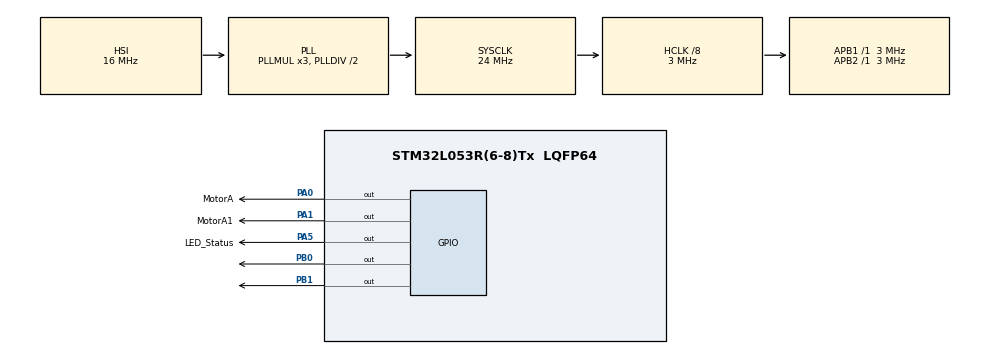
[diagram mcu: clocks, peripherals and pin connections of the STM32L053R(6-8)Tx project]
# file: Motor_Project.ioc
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Mcu.Family=STM32L0
Mcu.Name=STM32L053R(6-8)Tx
Mcu.Package=LQFP64
PA0.GPIO_Label=MotorA
PA0.Signal=GPIO_Output
PA1.GPIO_Label=MotorA1
PA1.Signal=GPIO_Output
PA5.GPIO_Label=LED_Status
PA5.Signal=GPIO_Output
PB0.Signal=GPIO_Output
PB1.Signal=GPIO_Output
ProjectManager.HeapSize=0x200
ProjectManager.StackSize=0x400
ProjectManager.TargetToolchain=MDK-ARM V5
RCC.AHBCLKDivider=RCC_SYSCLK_DIV8
RCC.AHBFreq_Value=3000000
RCC.APB1Freq_Value=3000000
RCC.APB1TimFreq_Value=3000000
RCC.APB2Freq_Value=3000000
RCC.APB2TimFreq_Value=3000000
RCC.HCLKFreq_Value=3000000
RCC.HSE_VALUE=8000000
RCC.HSI16_VALUE=16000000
RCC.HSI48_VALUE=48000000
RCC.HSI_VALUE=16000000
RCC.LSE_VALUE=32768
RCC.MSI_VALUE=2097000
RCC.SYSCLKFreq_VALUE=24000000
RCC.SYSCLKSource=RCC_SYSCLKSOURCE_PLLCLK
RCC.VCOOutputFreq_Value=48000000
board=Motor_Project

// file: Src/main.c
/**
  ******************************************************************************
  * File Name          : main.c
  * Description        : Main program body
  ******************************************************************************
  ** This notice applies to any and all portions of this file
  * that are not between comment pairs USER CODE BEGIN and
  * USER CODE END. Other portions of this file, whether
  * inserted by the user or by software development tools
  * are owned by their respective copyright owners.
  *
  * COPYRIGHT(c) 2017 STMicroelectronics
  *
  * Redistribution and use in source and binary forms, with or without modification,
  * are permitted provided that the following conditions are met:
  *   1. Redistributions of source code must retain the above copyright notice,
  *      this list of conditions and the following disclaimer.
  *   2. Redistributions in binary form must reproduce the above copyright notice,
  *      this list of conditions and the following disclaimer in the documentation
  *      and/or other materials provided with the distribution.
  *   3. Neither the name of STMicroelectronics nor the names of its contributors
  *      may be used to endorse or promote products derived from this software
  *      without specific prior written permission.
  *
  * THIS SOFTWARE IS PROVIDED BY THE COPYRIGHT HOLDERS AND CONTRIBUTORS "AS IS"
  * AND ANY EXPRESS OR IMPLIED WARRANTIES, INCLUDING, BUT NOT LIMITED TO, THE
  * IMPLIED WARRANTIES OF MERCHANTABILITY AND FITNESS FOR A PARTICULAR PURPOSE ARE
  * DISCLAIMED. IN NO EVENT SHALL THE COPYRIGHT HOLDER OR CONTRIBUTORS BE LIABLE
  * FOR ANY DIRECT, INDIRECT, INCIDENTAL, SPECIAL, EXEMPLARY, OR CONSEQUENTIAL
  * DAMAGES (INCLUDING, BUT NOT LIMITED TO, PROCUREMENT OF SUBSTITUTE GOODS OR
  * SERVICES; LOSS OF USE, DATA, OR PROFITS; OR BUSINESS INTERRUPTION) HOWEVER
  * CAUSED AND ON ANY THEORY OF LIABILITY, WHETHER IN CONTRACT, STRICT LIABILITY,
  * OR TORT (INCLUDING NEGLIGENCE OR OTHERWISE) ARISING IN ANY WAY OUT OF THE USE
  * OF THIS SOFTWARE, EVEN IF ADVISED OF THE POSSIBILITY OF SUCH DAMAGE.
  *
  ******************************************************************************
  */
#include "main.h"
#include "stm32l0xx_hal.h"

/* USER CODE BEGIN Includes */
uint8_t D_Flag = 1;
uint32_t D_Count = 0;
/* USER CODE END Includes */

/* USER CODE BEGIN PV */
/* Private variables ---------------------------------------------------------*/
#define Time 5
/* USER CODE END PV */

void SystemClock_Config(void);
static void MX_GPIO_Init(void);

/* USER CODE BEGIN PFP */
/* Private function prototypes -----------------------------------------------*/

/* USER CODE END PFP */

/* USER CODE BEGIN 0 */
/* �������ʱ�� + */
/*   1 2 3 4 5 6 7 8*/
/*A  1 1 0 0 0 0 0 1*/
/*A1 0 0 0 1 1 1 0 0*/
/*B  0 1 1 1 0 0 0 0*/
/*B1 0 0 0 0 0 1 1 1*/
//a[8]={0x01,0x05,0x04,0x06,0x02,0x0A,0x08,0x09};

/* �������ʱ�� - */
/*   1 2 3 4 5 6 7 8*/
/*A  1 1 0 0 0 0 0 1*/
/*A1 0 0 0 1 1 1 0 0*/
/*B  0 0 0 0 0 1 1 1*/
/*B1 0 1 1 1 0 0 0 0*/

void Motor_Z(void);
void Motor_F(void);
/* USER CODE END 0 */

int main(void)
{

    /* MCU Configuration----------------------------------------------------------*/

    /* Reset of all peripherals, Initializes the Flash interface and the Systick. */
    HAL_Init();

    /* Configure the system clock */
    SystemClock_Config();

    /* Initialize all configured peripherals */
    MX_GPIO_Init();

    /* Infinite loop */
    while (1)
    {

        /* USER CODE BEGIN 3 */
			  Motor_F();
#if 0
			D_Count++;
        if (D_Count>300)
         {
					  Motor_F();
					if(D_Count>600)
						D_Count=0;
				 }else
				   Motor_Z();
#endif
		}

    /* USER CODE END 3 */

}

/** System Clock Configuration
*/
void SystemClock_Config(void)
{

    RCC_OscInitTypeDef RCC_OscInitStruct;
    RCC_ClkInitTypeDef RCC_ClkInitStruct;

    /**Configure the main internal regulator output voltage
    */
    __HAL_PWR_VOLTAGESCALING_CONFIG(PWR_REGULATOR_VOLTAGE_SCALE1);

    /**Initializes the CPU, AHB and APB busses clocks
    */
    RCC_OscInitStruct.OscillatorType = RCC_OSCILLATORTYPE_HSI;
    RCC_OscInitStruct.HSIState = RCC_HSI_ON;
    RCC_OscInitStruct.HSICalibrationValue = 16;
    RCC_OscInitStruct.PLL.PLLState = RCC_PLL_ON;
    RCC_OscInitStruct.PLL.PLLSource = RCC_PLLSOURCE_HSI;
    RCC_OscInitStruct.PLL.PLLMUL = RCC_PLLMUL_3;
    RCC_OscInitStruct.PLL.PLLDIV = RCC_PLLDIV_2;
    if (HAL_RCC_OscConfig(&RCC_OscInitStruct) != HAL_OK)
    {
        _Error_Handler(__FILE__, __LINE__);
    }

    /**Initializes the CPU, AHB and APB busses clocks
    */
    RCC_ClkInitStruct.ClockType = RCC_CLOCKTYPE_HCLK | RCC_CLOCKTYPE_SYSCLK
                                  | RCC_CLOCKTYPE_PCLK1 | RCC_CLOCKTYPE_PCLK2;
    RCC_ClkInitStruct.SYSCLKSource = RCC_SYSCLKSOURCE_PLLCLK;
    RCC_ClkInitStruct.AHBCLKDivider = RCC_SYSCLK_DIV8;
    RCC_ClkInitStruct.APB1CLKDivider = RCC_HCLK_DIV1;
    RCC_ClkInitStruct.APB2CLKDivider = RCC_HCLK_DIV1;

    if (HAL_RCC_ClockConfig(&RCC_ClkInitStruct, FLASH_LATENCY_0) != HAL_OK)
    {
        _Error_Handler(__FILE__, __LINE__);
    }

    /**Configure the Systick interrupt time
    */
    HAL_SYSTICK_Config(HAL_RCC_GetHCLKFreq() / 1000);

    /**Configure the Systick
    */
    HAL_SYSTICK_CLKSourceConfig(SYSTICK_CLKSOURCE_HCLK);

    /* SysTick_IRQn interrupt configuration */
    HAL_NVIC_SetPriority(SysTick_IRQn, 0, 0);
}

/** Configure pins as
        * Analog
        * Input
        * Output
        * EVENT_OUT
        * EXTI
*/
static void MX_GPIO_Init(void)
{

    GPIO_InitTypeDef GPIO_InitStruct;

    /* GPIO Ports Clock Enable */
    __HAL_RCC_GPIOA_CLK_ENABLE();
    __HAL_RCC_GPIOB_CLK_ENABLE();

    /*Configure GPIO pin Output Level */
    HAL_GPIO_WritePin(GPIOA, MotorA_Pin | MotorA1_Pin | LED_Status_Pin, GPIO_PIN_RESET);

    /*Configure GPIO pin Output Level */
    HAL_GPIO_WritePin(GPIOB, GPIO_PIN_0 | GPIO_PIN_1, GPIO_PIN_RESET);

    /*Configure GPIO pins : MotorA_Pin MotorA1_Pin LED_Status_Pin */
    GPIO_InitStruct.Pin = MotorA_Pin | MotorA1_Pin | LED_Status_Pin;
    GPIO_InitStruct.Mode = GPIO_MODE_OUTPUT_PP;
    GPIO_InitStruct.Pull = GPIO_NOPULL;
    GPIO_InitStruct.Speed = GPIO_SPEED_FREQ_LOW;
    HAL_GPIO_Init(GPIOA, &GPIO_InitStruct);

    /*Configure GPIO pins : PB0 PB1 */
    GPIO_InitStruct.Pin = GPIO_PIN_0 | GPIO_PIN_1;
    GPIO_InitStruct.Mode = GPIO_MODE_OUTPUT_PP;
    GPIO_InitStruct.Pull = GPIO_NOPULL;
    GPIO_InitStruct.Speed = GPIO_SPEED_FREQ_LOW;
    HAL_GPIO_Init(GPIOB, &GPIO_InitStruct);

}

/* USER CODE BEGIN 4 */

void Motor_Z(void)
{
#if 1
    HAL_GPIO_WritePin(GPIOA, GPIO_PIN_0, GPIO_PIN_SET);
    HAL_GPIO_WritePin(GPIOA, GPIO_PIN_1, GPIO_PIN_RESET);
    HAL_GPIO_WritePin(GPIOB, GPIO_PIN_0, GPIO_PIN_RESET);
    HAL_GPIO_WritePin(GPIOB, GPIO_PIN_1, GPIO_PIN_RESET);
    HAL_Delay(Time);//0001

    HAL_GPIO_WritePin(GPIOA, GPIO_PIN_0, GPIO_PIN_SET);
    HAL_GPIO_WritePin(GPIOA, GPIO_PIN_1, GPIO_PIN_RESET);
    HAL_GPIO_WritePin(GPIOB, GPIO_PIN_0, GPIO_PIN_SET);
    HAL_GPIO_WritePin(GPIOB, GPIO_PIN_1, GPIO_PIN_RESET);
    HAL_Delay(Time); //0101

    HAL_GPIO_WritePin(GPIOA, GPIO_PIN_0, GPIO_PIN_RESET);
    HAL_GPIO_WritePin(GPIOA, GPIO_PIN_1, GPIO_PIN_RESET);
    HAL_GPIO_WritePin(GPIOB, GPIO_PIN_0, GPIO_PIN_SET);
    HAL_GPIO_WritePin(GPIOB, GPIO_PIN_1, GPIO_PIN_RESET);
    HAL_Delay(Time); //0100

    HAL_GPIO_WritePin(GPIOA, GPIO_PIN_0, GPIO_PIN_RESET);
    HAL_GPIO_WritePin(GPIOA, GPIO_PIN_1, GPIO_PIN_SET);
    HAL_GPIO_WritePin(GPIOB, GPIO_PIN_0, GPIO_PIN_SET);
    HAL_GPIO_WritePin(GPIOB, GPIO_PIN_1, GPIO_PIN_RESET);
    HAL_Delay(Time); //0110

    HAL_GPIO_WritePin(GPIOA, GPIO_PIN_0, GPIO_PIN_RESET);
    HAL_GPIO_WritePin(GPIOA, GPIO_PIN_1, GPIO_PIN_SET);
    HAL_GPIO_WritePin(GPIOB, GPIO_PIN_0, GPIO_PIN_RESET);
    HAL_GPIO_WritePin(GPIOB, GPIO_PIN_1, GPIO_PIN_RESET);
    HAL_Delay(Time); //0010

    HAL_GPIO_WritePin(GPIOA, GPIO_PIN_0, GPIO_PIN_RESET);
    HAL_GPIO_WritePin(GPIOA, GPIO_PIN_1, GPIO_PIN_SET);
    HAL_GPIO_WritePin(GPIOB, GPIO_PIN_0, GPIO_PIN_RESET);
    HAL_GPIO_WritePin(GPIOB, GPIO_PIN_1, GPIO_PIN_SET);
    HAL_Delay(Time);  //1010

    HAL_GPIO_WritePin(GPIOA, GPIO_PIN_0, GPIO_PIN_RESET);
    HAL_GPIO_WritePin(GPIOA, GPIO_PIN_1, GPIO_PIN_RESET);
    HAL_GPIO_WritePin(GPIOB, GPIO_PIN_0, GPIO_PIN_RESET);
    HAL_GPIO_WritePin(GPIOB, GPIO_PIN_1, GPIO_PIN_SET);
    HAL_Delay(Time);  //1000

    HAL_GPIO_WritePin(GPIOA, GPIO_PIN_0, GPIO_PIN_SET);
    HAL_GPIO_WritePin(GPIOA, GPIO_PIN_1, GPIO_PIN_RESET);
    HAL_GPIO_WritePin(GPIOB, GPIO_PIN_0, GPIO_PIN_RESET);
    HAL_GPIO_WritePin(GPIOB, GPIO_PIN_1, GPIO_PIN_SET);
    HAL_Delay(Time);  //1001
#else
        GPIOA->BSRR = 0X00000001;
        GPIOB->BSRR = 0X00000000;
        HAL_Delay(Time);   //0001 1

        GPIOA->BSRR = 0X00000001;
        GPIOB->BSRR = 0X00000001;
        HAL_Delay(Time);   //0101 2

        GPIOA->BSRR = 0X00010000;
        GPIOB->BSRR = 0X00000001;
        HAL_Delay(Time);   //0100 3

        GPIOA->BSRR = 0X00000002;
        GPIOB->BSRR = 0X00000001;
        HAL_Delay(Time);   //0110 4

        GPIOA->BSRR = 0X00000002;
        GPIOB->BSRR = 0X00010000;
        HAL_Delay(Time);   //0010 5

        GPIOA->BSRR = 0X00000002;
        GPIOB->BSRR = 0X00000002;
        HAL_Delay(Time);   //1010 6

        GPIOA->BSRR = 0X00020000;
        GPIOB->BSRR = 0X00000002;
        HAL_Delay(Time);   //1000 7

        GPIOA->BSRR = 0X00000001;
        GPIOB->BSRR = 0X00000002;
        HAL_Delay(Time);   //1001 8

#endif
}

void Motor_F(void)
{
    HAL_GPIO_WritePin(GPIOA, GPIO_PIN_0, GPIO_PIN_SET);
    HAL_GPIO_WritePin(GPIOA, GPIO_PIN_1, GPIO_PIN_RESET);
    HAL_GPIO_WritePin(GPIOB, GPIO_PIN_0, GPIO_PIN_RESET);
    HAL_GPIO_WritePin(GPIOB, GPIO_PIN_1, GPIO_PIN_RESET);
    HAL_Delay(Time);//0001

    HAL_GPIO_WritePin(GPIOA, GPIO_PIN_0, GPIO_PIN_SET);
    HAL_GPIO_WritePin(GPIOA, GPIO_PIN_1, GPIO_PIN_RESET);
    HAL_GPIO_WritePin(GPIOB, GPIO_PIN_0, GPIO_PIN_RESET);
    HAL_GPIO_WritePin(GPIOB, GPIO_PIN_1, GPIO_PIN_SET);
    HAL_Delay(Time); //1001

    HAL_GPIO_WritePin(GPIOA, GPIO_PIN_0, GPIO_PIN_RESET);
    HAL_GPIO_WritePin(GPIOA, GPIO_PIN_1, GPIO_PIN_RESET);
    HAL_GPIO_WritePin(GPIOB, GPIO_PIN_0, GPIO_PIN_RESET);
    HAL_GPIO_WritePin(GPIOB, GPIO_PIN_1, GPIO_PIN_SET);
    HAL_Delay(Time); //1000

    HAL_GPIO_WritePin(GPIOA, GPIO_PIN_0, GPIO_PIN_RESET);
    HAL_GPIO_WritePin(GPIOA, GPIO_PIN_1, GPIO_PIN_SET);
    HAL_GPIO_WritePin(GPIOB, GPIO_PIN_0, GPIO_PIN_RESET);
    HAL_GPIO_WritePin(GPIOB, GPIO_PIN_1, GPIO_PIN_SET);
    HAL_Delay(Time); //1010

    HAL_GPIO_WritePin(GPIOA, GPIO_PIN_0, GPIO_PIN_RESET);
    HAL_GPIO_WritePin(GPIOA, GPIO_PIN_1, GPIO_PIN_SET);
    HAL_GPIO_WritePin(GPIOB, GPIO_PIN_0, GPIO_PIN_RESET);
    HAL_GPIO_WritePin(GPIOB, GPIO_PIN_1, GPIO_PIN_RESET);
    HAL_Delay(Time); //0010

    HAL_GPIO_WritePin(GPIOA, GPIO_PIN_0, GPIO_PIN_RESET);
    HAL_GPIO_WritePin(GPIOA, GPIO_PIN_1, GPIO_PIN_SET);
    HAL_GPIO_WritePin(GPIOB, GPIO_PIN_0, GPIO_PIN_SET);
    HAL_GPIO_WritePin(GPIOB, GPIO_PIN_1, GPIO_PIN_RESET);
    HAL_Delay(Time);  //0110

    HAL_GPIO_WritePin(GPIOA, GPIO_PIN_0, GPIO_PIN_RESET);
    HAL_GPIO_WritePin(GPIOA, GPIO_PIN_1, GPIO_PIN_RESET);
    HAL_GPIO_WritePin(GPIOB, GPIO_PIN_0, GPIO_PIN_SET);
    HAL_GPIO_WritePin(GPIOB, GPIO_PIN_1, GPIO_PIN_RESET);
    HAL_Delay(Time);  //0100

    HAL_GPIO_WritePin(GPIOA, GPIO_PIN_0, GPIO_PIN_SET);
    HAL_GPIO_WritePin(GPIOA, GPIO_PIN_1, GPIO_PIN_RESET);
    HAL_GPIO_WritePin(GPIOB, GPIO_PIN_0, GPIO_PIN_SET);
    HAL_GPIO_WritePin(GPIOB, GPIO_PIN_1, GPIO_PIN_RESET);
    HAL_Delay(Time);  //0101
}

/* USER CODE END 4 */

void _Error_Handler(char *file, int line)
{
    while(1)
    {
    }
}

/************************ (C) COPYRIGHT STMicroelectronics *****END OF FILE****/
